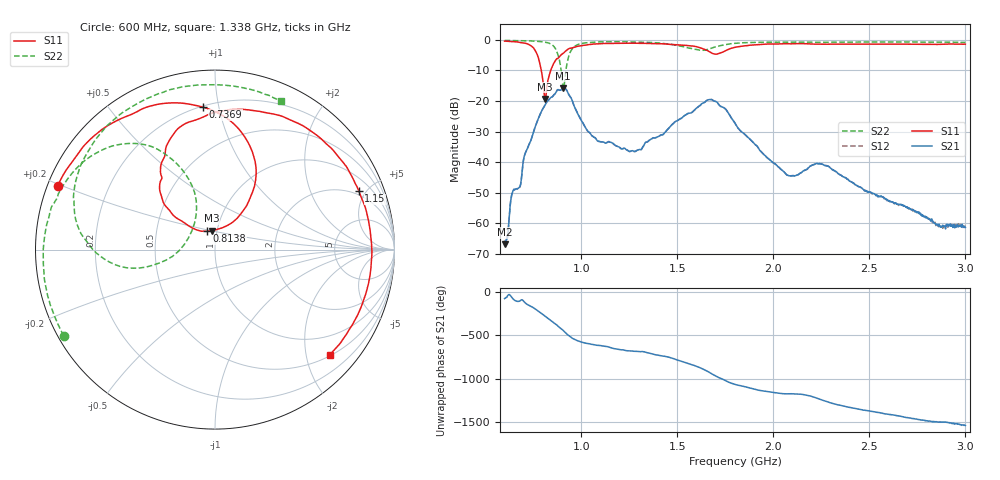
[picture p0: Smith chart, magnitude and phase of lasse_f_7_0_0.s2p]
#  HZ  S  RI  R  50.00
! Rohde & Schwarz ZVB8 2Ports - Version 2.81 - 1145.1010k08 SN: 100113
! Date: 2016-05-04 02:49:20
! Measurements: S11 S21 S12 S22
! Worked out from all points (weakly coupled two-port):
!   1000 points, 600 MHz to 3 GHz, reference 50 ohm
!   highest |S21| = -15.82 dB at 905.1 MHz (marker M1); lowest = -66.8 dB at 600 MHz (marker M2)
!   lowest |S11| = -19.4 dB at 811.4 MHz (marker M3), VSWR 1.24, Z = 47.2 + j10.1 ohm
!   |S11| at or under -10 dB: 790.9 MHz to 840.1 MHz (49.18 MHz wide, 6.03 % of centre)
!   |S22| runs from -15.8 to -0.3 dB; largest |S21 - S12| = 0.0016
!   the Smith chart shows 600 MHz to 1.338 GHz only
!   S11 on the Smith chart (normalised r, x): 600 MHz: 0.03, +0.19; 736.9 MHz: 0.21, +0.90; 813.8 MHz: 0.89, +0.18; 1.15 GHz: 1.73, +4.48; 1.338 GHz: 0.53, -2.47
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6e8  -0.8774 0.355  8.36e-05 -0.000449  0.000111 -0.000411  -0.8425 -0.4804
6.408408e8  -0.746 0.5589  0.000793 -0.00309  0.000843 -0.00308  -0.9089 -0.3308
7.369369e8  -0.0687 0.7943  -0.0224 -0.00421  -0.0224 -0.00404  -0.9512 0.0605
7.753754e8  0.2286 0.4567  -0.037 0.0353  -0.0377 0.0351  -0.9122 0.2346
8.114114e8  -0.0175 0.1059  0.0203 0.0844  0.0199 0.0847  -0.8128 0.4047
8.138138e8  -0.0465 0.1017  0.027 0.0854  0.0266 0.0857  -0.8036 0.4161
8.666667e8  -0.309 0.3497  0.1322 -0.0334  0.1325 -0.0332  -0.378 0.5821
9.051051e8  -0.279 0.5272  0.00819 -0.1617  0.00915 -0.1612  -0.1285 0.1046
9.339339e8  -0.197 0.6818  -0.1041 -0.0733  -0.1037 -0.0744  -0.5271 -0.0944
1.001201e9  0.1756 0.7797  -0.0359 0.0302  -0.0361 0.0299  -0.7749 0.3848
1.15015e9  0.8016 0.3257  0.00487 0.0206  0.0049 0.0206  -0.3449 0.8563
1.337538e9  0.6383 -0.5859  0.0199 0.00732  0.0198 0.00745  0.3657 0.8291
1.4e9  0.3866 -0.7653  0.0256 -0.00509  0.0256 -0.00498  0.5678 0.6793
1.524925e9  -0.1724 -0.7952  0.00601 -0.0531  0.0065 -0.053  0.7338 0.2501
1.666667e9  -0.5082 -0.3807  -0.0912 0.0526  -0.0917 0.0517  0.7061 0.0159
1.801201e9  -0.6916 -0.2969  0.042 0.00805  0.0418 0.00834  0.7572 -0.4301
2.075075e9  -0.523 0.6786  -0.000561 -0.0061  -0.00055 -0.006  -0.0316 -0.9077
2.2e9  -0.0404 0.846  -0.00526 -0.00715  -0.00522 -0.00717  -0.3951 -0.8179
2.423423e9  0.7395 0.4111  -0.000419 0.00435  -0.000432 0.0043  -0.8099 -0.4254
2.601201e9  0.7728 -0.3392  0.00207 0.00109  0.00205 0.00108  -0.9163 -0.0171
2.798198e9  0.1607 -0.8224  0.0009 -0.000909  0.00088 -0.00091  -0.8113 0.4153
3e9  -0.5386 -0.6497  -0.00015 -0.000848  -0.000116 -0.000842  -0.511 0.7436
